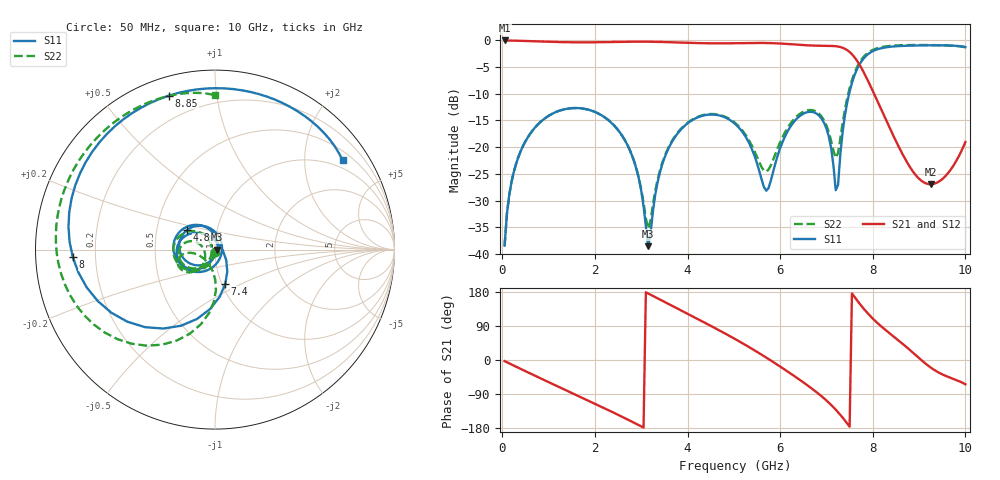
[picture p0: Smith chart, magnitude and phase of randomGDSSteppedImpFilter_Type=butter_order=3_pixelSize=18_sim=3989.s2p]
! freq	dB(S11)	phase(S11)	dB(S12)	phase(S12)
!  dB(S21)	phase(S21)	dB(S22)	phase(S22)
!S-par simulation data
#  GHz  S  DB  R 50
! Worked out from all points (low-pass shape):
!   200 points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, 50 MHz to 10 GHz, reference 50 ohm
!   highest |S21| = 0.00 dB at 50 MHz (marker M1); lowest = -27.0 dB at 9.25 GHz (marker M2)
!   |S21| within 3 dB of the highest: start of sweep to 7.591 GHz
!   lowest |S11| = -38.6 dB at 3.15 GHz (marker M3), VSWR 1.02, Z = 51.2 - j0.0473 ohm
!   |S11| at or under -10 dB: start of sweep to 7.489 GHz
!   |S22| runs from -38.5 to -0.9 dB; largest |S21 - S12| = 0
!   S11 on the Smith chart (normalised r, x): 50 MHz: 1.00, -0.02; 4.8 GHz: 0.71, +0.16; 7.4 GHz: 1.04, -0.41; 8 GHz: 0.12, -0.03; 8.85 GHz: 0.09, +0.74; 10 GHz: 0.75, +3.01
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0.05  -38.46 -92.8  -0.00 -3.0  -0.00 -3.0  -38.45 -92.5
0.2  -26.49 -102.4  -0.03 -11.9  -0.03 -11.9  -26.49 -101.4
0.5  -18.91 -121.1  -0.10 -29.5  -0.10 -29.5  -18.91 -118.6
1.75  -12.78 163.6  -0.36 -100.9  -0.36 -100.9  -12.78 173.8
2.7  -19.56 101.3  -0.25 -156.7  -0.25 -156.7  -19.55 126.7
3.15  -38.56 -2.2  -0.24 175.5  -0.24 175.5  -35.26 178.2
3.4  -24.85 -106.6  -0.28 159.9  -0.28 159.9  -24.48 -119.6
4.15  -14.70 -165.8  -0.48 112.6  -0.48 112.6  -14.60 -150.2
4.8  -14.39 145.8  -0.54 70.6  -0.54 70.6  -14.26 176.7
5.05  -15.82 124.8  -0.52 53.8  -0.52 53.8  -15.63 165.5
5.7  -28.17 -2.1  -0.48 6.4  -0.48 6.4  -24.58 -164.2
6.2  -16.46 -123.8  -0.69 -33.6  -0.69 -33.6  -15.87 -132.4
6.7  -13.41 -179.4  -0.96 -76.8  -0.96 -76.8  -13.08 -159.0
7  -16.52 141.3  -1.00 -106.9  -1.00 -106.9  -15.94 -173.2
7.2  -28.07 65.7  -1.08 -131.0  -1.08 -131.0  -22.01 -138.9
7.4  -13.96 -73.4  -1.57 -159.9  -1.57 -159.9  -12.88 -88.8
7.7  -4.70 -132.1  -4.35 151.2  -4.35 151.2  -4.34 -119.2
8  -2.01 -176.9  -9.47 109.3  -9.47 109.3  -1.77 -153.3
8.35  -1.21 146.0  -16.12 71.8  -16.12 71.8  -1.04 177.9
8.85  -0.96 106.7  -24.35 21.2  -24.35 21.2  -0.86 147.9
9.25  -0.91 80.4  -26.96 -19.9  -26.96 -19.9  -0.87 127.7
10  -1.23 34.9  -19.04 -64.0  -19.04 -64.0  -1.30 90.2
